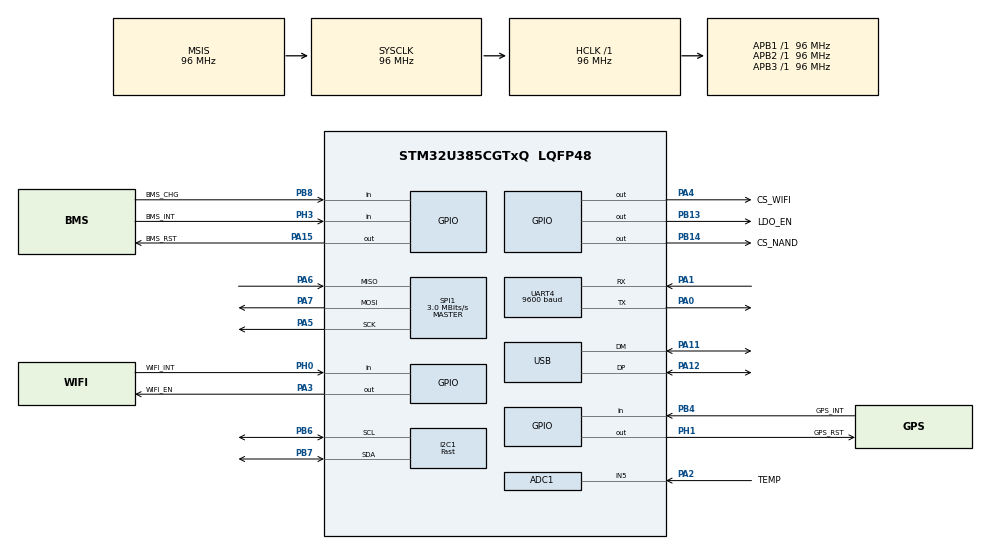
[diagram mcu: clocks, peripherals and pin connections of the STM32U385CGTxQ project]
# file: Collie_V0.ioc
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ADC1.Channel-0\#ChannelRegularConversion=ADC_CHANNEL_5
ADC1.MonitoredBy-0\#ChannelRegularConversion=__NULL
ADC1.NbrOfConversion=1
ADC1.NbrOfConversionFlag=1
ADC1.OffsetNumber-0\#ChannelRegularConversion=ADC_OFFSET_NONE
ADC1.Rank-0\#ChannelRegularConversion=1
ADC1.SamplingTime-0\#ChannelRegularConversion=ADC_SAMPLETIME_1CYCLE_5
ADC1.master=1
CORTEX_M33_NS.userName=CORTEX_M33
I2C1.I2C_Speed_Mode=I2C_Fast
I2C1.Timing=0x009032AE
Mcu.Family=STM32U3
Mcu.Name=STM32U385CGTxQ
Mcu.Package=LQFP48
NVIC.PriorityGroup=NVIC_PRIORITYGROUP_4
PA0.Mode=Asynchronous
PA0.Signal=UART4_TX
PA1.Mode=Asynchronous
PA1.Signal=UART4_RX
PA11.Mode=Device
PA11.Signal=USB_DM
PA12.Mode=Device
PA12.Signal=USB_DP
PA13\ (JTMS/SWDIO).Mode=Trace_Asynchronous_SW
PA13\ (JTMS/SWDIO).Signal=DEBUG_JTMS-SWDIO
PA14\ (JTCK/SWCLK).Mode=Trace_Asynchronous_SW
PA14\ (JTCK/SWCLK).Signal=DEBUG_JTCK-SWCLK
PA15\ (JTDI).GPIO_Label=BMS_RST
PA15\ (JTDI).GPIO_Speed=GPIO_SPEED_FREQ_LOW
PA15\ (JTDI).Signal=GPIO_Output
PA2.GPIO_Label=TEMP
PA2.Mode=IN5-Single-Ended
PA2.Signal=ADC1_IN5
PA3.GPIO_Label=WIFI_EN
PA3.Signal=GPIO_Output
PA4.GPIO_Label=CS_WIFI
PA4.Signal=GPIO_Output
PA5.Mode=Full_Duplex_Master
PA5.Signal=SPI1_SCK
PA6.Mode=Full_Duplex_Master
PA6.Signal=SPI1_MISO
PA7.Mode=Full_Duplex_Master
PA7.Signal=SPI1_MOSI
PB13.GPIO_Label=LDO_EN
PB13.Signal=GPIO_Output
PB14.GPIO_Label=CS_NAND
PB14.Signal=GPIO_Output
PB3\ (JTDO/TRACESWO).Mode=Trace_Asynchronous_SW
PB3\ (JTDO/TRACESWO).Signal=DEBUG_JTDO-SWO
PB4\ (NJTRST).GPIO_Label=GPS_INT
PB4\ (NJTRST).Signal=GPIO_Input
PB6.Mode=I2C
PB6.Signal=I2C1_SCL
PB7.Mode=I2C
PB7.Signal=I2C1_SDA
PB8.GPIO_Label=BMS_CHG
PB8.Signal=GPIO_Input
PH0-OSC_IN\ (PH0).GPIO_Label=WIFI_INT
PH0-OSC_IN\ (PH0).Signal=GPIO_Input
PH1-OSC_OUT\ (PH1).GPIO_Label=GPS_RST
PH1-OSC_OUT\ (PH1).Signal=GPIO_Output
PH3-BOOT0\ (PH3).GPIO_Label=BMS_INT
PH3-BOOT0\ (PH3).Signal=GPIO_Input
ProjectManager.HeapSize=0x200
ProjectManager.StackSize=0x400
ProjectManager.TargetToolchain=STM32CubeIDE
RCC.ADCFreq_Value=96000000
RCC.AHBFreq_Value=96000000
RCC.APB1Freq_Value=96000000
RCC.APB1TimFreq_Value=96000000
RCC.APB2Freq_Value=96000000
RCC.APB2TimFreq_Value=96000000
RCC.APB3Freq_Value=96000000
RCC.CortexFreq_Value=12000000
RCC.HCLKFreq_Value=96000000
RCC.HSE_VALUE=16000000
RCC.HSI48_VALUE=48000000
RCC.HSI_VALUE=16000000
RCC.LSE_VALUE=32768
RCC.LSIDIV_VALUE=32000
RCC.MSISDIV=RCC_MSI_DIV1
RCC.SYSCLKFreq_VALUE=96000000
RCC.USBFreq_Value=48000000
RCC.USB_DIV=RCC_USB1CLKSOURCE_ICLK_DIV2
SPI1.BaudRatePrescaler=SPI_BAUDRATEPRESCALER_32
SPI1.CalculateBaudRate=3.0 MBits/s
SPI1.DataSize=SPI_DATASIZE_8BIT
SPI1.Direction=SPI_DIRECTION_2LINES
SPI1.Mode=SPI_MODE_MASTER
SPI1.VirtualType=VM_MASTER
UART4.BaudRate=9600
UART4.RxPinLevelInvertParam=UART_ADVFEATURE_RXINV_ENABLE
UART4.SwapParam=UART_ADVFEATURE_SWAP_ENABLE
USB.VirtualMode=Device_Only
USBX.BSP.number=1
USBX.Core_System=1
USBX.USBD_CDCACM_EPIN_ADDR=2
USBX.USBD_CDCACM_EPOUT_ADDR=3
USBX.UX_DEVICE_CDC_ACM=1
USBX.UX_Device_Controller=1
USBX.UX_Device_CoreStack=1
USBX0.BSP.STBoard=false
USBX0.BSP.api=Unknown
USBX0.BSP.instance=USB
USBX0.BSP.ip=USB
USBX0.BSP.mode=Device_Only
USBX0.BSP.name=USB_Device
USBX0.BSP.solution=USB
VP_FLASH_SIG_Activate_FlashIP.Mode=Activate_FlashIP
VP_ICACHE_VS_ICACHE.Mode=DirectMappedCache
VP_PWR_VS_DBSignals.Mode=DisableDeadBatterySignals
VP_PWR_VS_LPOM.Mode=PowerOptimisation
VP_PWR_VS_SECSignals.Mode=Security/Privilege
VP_PWR_V_PVD_IN.Mode=Mode_PVD_Int
VP_USBX_Core_System.Mode=Core_System
VP_USBX_UX\ Device\ CDC\ ACM\ Class_FS.Mode=UX_Device_class_CDC_ACM_FS
VP_USBX_UX\ Device\ Controller_FS.Mode=UX_Device_Controller_FS
VP_USBX_UX\ Device\ CoreStack_FS.Mode=UX_Device_CoreStack_FS
board=custom

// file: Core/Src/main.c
/* USER CODE BEGIN Header */
/**
  ******************************************************************************
  * @file           : main.c
  * @brief          : Main program body
  ******************************************************************************
  * @attention
  *
  * Copyright (c) 2025 STMicroelectronics.
  * All rights reserved.
  *
  * This software is licensed under terms that can be found in the LICENSE file
  * in the root directory of this software component.
  * If no LICENSE file comes with this software, it is provided AS-IS.
  *
  ******************************************************************************
  */
/* USER CODE END Header */
#include "main.h"
#include "app_usbx_device.h"

/* USER CODE BEGIN Includes */
#include <stdio.h>          // For printf
#include <string.h>         // For memset, memcpy
#include "nmea_parse.h"     // Include FIRST: For GPS struct definition
#include "data_structures.h"
#include "system_control.h"
#include "imu_task.h"
#include "temp_task.h"
#include "gps_task.h"       // Uses GPS type defined in nmea_parse.h
#include "bms_task.h"
#include "storage_task.h"
#include "usb_cdc_task.h"
#include "bmi2.h"           // For bmi2_dev struct definition
// NOTE: app_usbx_device.h is already included above main includes section
/* USER CODE END Includes */

/* USER CODE BEGIN PD */
// Task Scheduling Intervals (Approximate)
#define MAIN_LOOP_DELAY_MS    1       // Main loop check interval (ms)
#define IMU_INTERVAL_MS       10      // 100 Hz = 10ms
// GPS task `gps_task_run` should be called frequently to empty UART buffer.
// Parsing and updating data structure happens when full sentences arrive (target ~1Hz).
#define TEMP_INTERVAL_MS      1000    // 1 Hz = 1000ms
#define BMS_INTERVAL_MS       1000    // 1 Hz = 1000ms
#define STORAGE_INTERVAL_MS   1000    // Log data every 1 second = 1000ms
#define USB_SEND_INTERVAL_MS  100     // Send data over USB at 10 Hz = 100ms

/* USER CODE END PD */

ADC_HandleTypeDef hadc1;

I2C_HandleTypeDef hi2c1;

SPI_HandleTypeDef hspi1;

UART_HandleTypeDef huart4;

PCD_HandleTypeDef hpcd_USB_DRD_FS;

/* USER CODE BEGIN PV */
// Task Data Structures
static imu_data_t      g_imu_data;
static gps_data_t      g_gps_data;       // Application GPS data structure
static temp_data_t     g_temp_data;
static bms_status_t    g_bms_status;
static log_record_t    g_log_record;

// Driver / State Structures
static struct bmi2_dev g_bmi2_dev;      // BMI270 device instance
static GPS             g_gps_parser_state; // Changed type to GPS: NMEA parser state struct

// Task Timing
static uint32_t g_last_imu_time = 0;
// static uint32_t g_last_gps_time = 0; // Not needed - gps_task_run called every loop
static uint32_t g_last_temp_time = 0;
static uint32_t g_last_bms_time = 0;
static uint32_t g_last_storage_time = 0;
static uint32_t g_last_usb_send_time = 0;
/* USER CODE END PV */

void SystemClock_Config(void);
static void MX_GPIO_Init(void);
static void MX_ADC1_Init(void);
static void MX_I2C1_Init(void);
static void MX_SPI1_Init(void);
static void MX_UART4_Init(void);
static void MX_USB_PCD_Init(void);
static void MX_ICACHE_Init(void);
static void MX_FLASH_Init(void);
/* USER CODE BEGIN PFP */
#ifdef __GNUC__
/* With GCC, small printf (option LD Linker->Libraries->Small printf
   set to 'Yes') calls __io_putchar() */
#define PUTCHAR_PROTOTYPE int __io_putchar(int ch)
#else
#define PUTCHAR_PROTOTYPE int fputc(int ch, FILE *f)
#endif /* __GNUC__ */
/* USER CODE END PFP */

/* USER CODE BEGIN 0 */

/**
  * @brief  Retargets the C library printf function to the ITM SWO output.
  * Requires SWO configuration in CubeMX and debugger.
  * @param  Character to send
  * @retval Character sent
  */
PUTCHAR_PROTOTYPE
{
  /* Place your implementation of fputc here */
  /* e.g. write a character to the ITM Channel 0 */
  ITM_SendChar(ch);
  return ch;
}

/* USER CODE END 0 */

int main(void)
{

  /* USER CODE BEGIN 1 */
  uint32_t current_time = 0;
  bool storage_success = false;
  /* USER CODE END 1 */

  /* MCU Configuration--------------------------------------------------------*/

  /* Reset of all peripherals, Initializes the Flash interface and the Systick. */
  HAL_Init();

  /* Configure the system clock */
  SystemClock_Config();

  /* Initialize all configured peripherals */
  MX_GPIO_Init();
  MX_ADC1_Init();
  MX_I2C1_Init();
  MX_SPI1_Init();
  MX_UART4_Init();
  MX_USB_PCD_Init();
  MX_ICACHE_Init();
  MX_FLASH_Init();
  MX_USBX_Device_Init();
  /* USER CODE BEGIN 2 */
  printf("\r\n\r\n--- Collie V0 Board Starting ---\r\n");
  printf("System Core Clock: %lu Hz\r\n", SystemCoreClock);

  // --- Initialize Application Modules ---
  printf("Initializing System Control...\r\n");
  system_control_init(); // Set initial GPIO states

  printf("Initializing Temperature Sensor Task...\r\n");
  if (!temp_task_init()) {
      printf("!!! TEMP INIT FAILED !!!\r\n"); Error_Handler();
  }

  printf("Initializing IMU Task...\r\n");
  if (!imu_task_init(&g_bmi2_dev)) { // Pass the global bmi device struct
       printf("!!! IMU INIT FAILED !!!\r\n"); Error_Handler();
  }

  printf("Initializing BMS Task...\r\n");
   if (!bms_task_init()) {
       printf("!!! BMS INIT FAILED !!!\r\n"); Error_Handler();
   }

  printf("Initializing GPS Task...\r\n");
  // Pass the address of the NMEA parser state struct (type GPS)
   if (!gps_task_init(&g_gps_parser_state)) { // Corrected variable name
        printf("!!! GPS INIT FAILED !!!\r\n"); Error_Handler();
   }

   printf("Initializing Storage Task...\r\n");
   if (!storage_task_init()) {
        printf("!!! STORAGE INIT FAILED !!!\r\n");
        Error_Handler();
   }

   printf("Initializing USB CDC Task...\r\n");
   usb_cdc_task_init();

   printf("\r\n--- Initialization Complete ---\r\n");

   // --- Initialize last poll times ---
   g_last_imu_time = HAL_GetTick();
   g_last_temp_time = HAL_GetTick();
   g_last_bms_time = HAL_GetTick();
   g_last_storage_time = HAL_GetTick();
   g_last_usb_send_time = HAL_GetTick();

   // --- Clear initial data structures ---
   memset(&g_imu_data, 0, sizeof(g_imu_data));
   memset(&g_gps_data, 0, sizeof(g_gps_data));
   memset(&g_temp_data, 0, sizeof(g_temp_data));
   memset(&g_bms_status, 0, sizeof(g_bms_status));
   memset(&g_log_record, 0, sizeof(g_log_record));

  /* USER CODE END 2 */

  /* Infinite loop */
  while (1)
  {

    /* USER CODE BEGIN 3 */

    current_time = HAL_GetTick();

    // --- Run Sensor Tasks based on intervals ---
    if (current_time - g_last_imu_time >= IMU_INTERVAL_MS) {
        g_last_imu_time = current_time;
        imu_task_run(&g_bmi2_dev, &g_imu_data);
    }

    if (current_time - g_last_temp_time >= TEMP_INTERVAL_MS) {
        g_last_temp_time = current_time;
        temp_task_run(&g_temp_data);
    }

     if (current_time - g_last_bms_time >= BMS_INTERVAL_MS) {
        g_last_bms_time = current_time;
        bms_task_run(&g_bms_status);
    }

    // GPS runs every loop cycle to process the UART buffer quickly
    gps_task_run(&g_gps_parser_state, &g_gps_data); // Corrected variable name

    // --- Run Storage Task ---
    if (current_time - g_last_storage_time >= STORAGE_INTERVAL_MS) {
        g_last_storage_time = current_time;

        g_log_record.timestamp_s = current_time / 1000;
        imu_task_get_last_data(&g_log_record.imu);
        gps_task_get_last_data(&g_log_record.gps);
        temp_task_get_last_data(&g_log_record.temp);
        bms_task_get_last_status(&g_log_record.bms);

        storage_success = storage_task_write_record(&g_log_record);
        if (!storage_success) {
             static uint32_t last_nand_error_print = 0;
             if (current_time - last_nand_error_print > 5000) {
                 printf("Main Loop: Failed to write log record to NAND!\r\n");
                 last_nand_error_print = current_time;
             }
        }
    }

    // --- Run USB CDC Task ---
     if (current_time - g_last_usb_send_time >= USB_SEND_INTERVAL_MS) {
         g_last_usb_send_time = current_time;
         if (usb_cdc_task_is_ready()) {
             imu_task_get_last_data(&g_imu_data);
             gps_task_get_last_data(&g_gps_data);
             temp_task_get_last_data(&g_temp_data);
             bms_task_get_last_status(&g_bms_status);
             usb_cdc_task_send_sensor_data(&g_imu_data, &g_gps_data, &g_temp_data, &g_bms_status);
         }
     }

     USBX_Device_Process(); // Process USB events

     HAL_Delay(MAIN_LOOP_DELAY_MS);

  }
  /* USER CODE END 3 */
}

void SystemClock_Config(void)
{
  RCC_OscInitTypeDef RCC_OscInitStruct = {0};
  RCC_ClkInitTypeDef RCC_ClkInitStruct = {0};

  /** Enable Epod Booster
  */
  if (HAL_RCCEx_EpodBoosterClkConfig(RCC_EPODBOOSTER_SOURCE_MSIS, RCC_EPODBOOSTER_DIV1) != HAL_OK)
  {
    Error_Handler();
  }
  if (HAL_PWREx_EnableEpodBooster() != HAL_OK)
  {
    Error_Handler();
  }

  /** Configure the main internal regulator output voltage
  */
  if (HAL_PWREx_ControlVoltageScaling(PWR_REGULATOR_VOLTAGE_SCALE1) != HAL_OK)
  {
    Error_Handler();
  }

  /** Set Flash latency before increasing MSIS
  */
  __HAL_FLASH_SET_LATENCY(FLASH_LATENCY_2);

  /** Initializes the CPU, AHB and APB buses clocks
  */
  RCC_OscInitStruct.OscillatorType = RCC_OSCILLATORTYPE_MSIS;
  RCC_OscInitStruct.MSISState = RCC_MSI_ON;
  RCC_OscInitStruct.MSISSource = RCC_MSI_RC0;
  RCC_OscInitStruct.MSISDiv = RCC_MSI_DIV1;
  if (HAL_RCC_OscConfig(&RCC_OscInitStruct) != HAL_OK)
  {
    Error_Handler();
  }

  /** Initializes the CPU, AHB and APB buses clocks
  */
  RCC_ClkInitStruct.ClockType = RCC_CLOCKTYPE_HCLK|RCC_CLOCKTYPE_SYSCLK
                              |RCC_CLOCKTYPE_PCLK1|RCC_CLOCKTYPE_PCLK2
                              |RCC_CLOCKTYPE_PCLK3;
  RCC_ClkInitStruct.SYSCLKSource = RCC_SYSCLKSOURCE_MSIS;
  RCC_ClkInitStruct.AHBCLKDivider = RCC_SYSCLK_DIV1;
  RCC_ClkInitStruct.APB1CLKDivider = RCC_HCLK_DIV1;
  RCC_ClkInitStruct.APB2CLKDivider = RCC_HCLK_DIV1;
  RCC_ClkInitStruct.APB3CLKDivider = RCC_HCLK_DIV1;

  if (HAL_RCC_ClockConfig(&RCC_ClkInitStruct, FLASH_LATENCY_2) != HAL_OK)
  {
    Error_Handler();
  }
}

static void MX_ADC1_Init(void)
{

  ADC_ChannelConfTypeDef sConfig = {0};

  /** Common config
  */
  hadc1.Instance = ADC1;
  hadc1.Init.Resolution = ADC_RESOLUTION_12B;
  hadc1.Init.GainCompensation = 0;
  hadc1.Init.ScanConvMode = ADC_SCAN_DISABLE;
  hadc1.Init.EOCSelection = ADC_EOC_SINGLE_CONV;
  hadc1.Init.LowPowerAutoWait = DISABLE;
  hadc1.Init.ContinuousConvMode = DISABLE;
  hadc1.Init.NbrOfConversion = 1;
  hadc1.Init.DiscontinuousConvMode = DISABLE;
  hadc1.Init.ExternalTrigConv = ADC_SOFTWARE_START;
  hadc1.Init.ExternalTrigConvEdge = ADC_EXTERNALTRIGCONVEDGE_NONE;
  hadc1.Init.Overrun = ADC_OVR_DATA_PRESERVED;
  hadc1.Init.LeftBitShift = ADC_LEFTBITSHIFT_NONE;
  hadc1.Init.ConversionDataManagement = ADC_CONVERSIONDATA_DR;
  hadc1.Init.OversamplingMode = DISABLE;
  if (HAL_ADC_Init(&hadc1) != HAL_OK)
  {
    Error_Handler();
  }

  /** Configure Regular Channel
  */
  sConfig.Channel = ADC_CHANNEL_5;
  sConfig.Rank = ADC_REGULAR_RANK_1;
  sConfig.SamplingTime = ADC_SAMPLETIME_1CYCLE_5;
  sConfig.OffsetNumber = ADC_OFFSET_NONE;
  sConfig.Offset = 0;
  if (HAL_ADC_ConfigChannel(&hadc1, &sConfig) != HAL_OK)
  {
    Error_Handler();
  }

}

static void MX_FLASH_Init(void)
{

}

static void MX_I2C1_Init(void)
{

  hi2c1.Instance = I2C1;
  hi2c1.Init.Timing = 0x009032AE;
  hi2c1.Init.OwnAddress1 = 0;
  hi2c1.Init.AddressingMode = I2C_ADDRESSINGMODE_7BIT;
  hi2c1.Init.DualAddressMode = I2C_DUALADDRESS_DISABLE;
  hi2c1.Init.OwnAddress2 = 0;
  hi2c1.Init.OwnAddress2Masks = I2C_OA2_NOMASK;
  hi2c1.Init.GeneralCallMode = I2C_GENERALCALL_DISABLE;
  hi2c1.Init.NoStretchMode = I2C_NOSTRETCH_DISABLE;
  if (HAL_I2C_Init(&hi2c1) != HAL_OK)
  {
    Error_Handler();
  }

  /** Configure Analogue filter
  */
  if (HAL_I2CEx_ConfigAnalogFilter(&hi2c1, I2C_ANALOGFILTER_ENABLE) != HAL_OK)
  {
    Error_Handler();
  }

  /** Configure Digital filter
  */
  if (HAL_I2CEx_ConfigDigitalFilter(&hi2c1, 0) != HAL_OK)
  {
    Error_Handler();
  }

}

static void MX_ICACHE_Init(void)
{

  /** Enable instruction cache in 1-way (direct mapped cache)
  */
  if (HAL_ICACHE_ConfigAssociativityMode(ICACHE_1WAY) != HAL_OK)
  {
    Error_Handler();
  }
  if (HAL_ICACHE_Enable() != HAL_OK)
  {
    Error_Handler();
  }

}

static void MX_SPI1_Init(void)
{

  SPI_AutonomousModeConfTypeDef HAL_SPI_AutonomousMode_Cfg_Struct = {0};

  /* SPI1 parameter configuration*/
  hspi1.Instance = SPI1;
  hspi1.Init.Mode = SPI_MODE_MASTER;
  hspi1.Init.Direction = SPI_DIRECTION_2LINES;
  hspi1.Init.DataSize = SPI_DATASIZE_8BIT;
  hspi1.Init.CLKPolarity = SPI_POLARITY_LOW;
  hspi1.Init.CLKPhase = SPI_PHASE_1EDGE;
  hspi1.Init.NSS = SPI_NSS_SOFT;
  hspi1.Init.BaudRatePrescaler = SPI_BAUDRATEPRESCALER_32;
  hspi1.Init.FirstBit = SPI_FIRSTBIT_MSB;
  hspi1.Init.TIMode = SPI_TIMODE_DISABLE;
  hspi1.Init.CRCCalculation = SPI_CRCCALCULATION_DISABLE;
  hspi1.Init.CRCPolynomial = 0x7;
  hspi1.Init.NSSPMode = SPI_NSS_PULSE_ENABLE;
  hspi1.Init.NSSPolarity = SPI_NSS_POLARITY_LOW;
  hspi1.Init.FifoThreshold = SPI_FIFO_THRESHOLD_01DATA;
  hspi1.Init.MasterSSIdleness = SPI_MASTER_SS_IDLENESS_00CYCLE;
  hspi1.Init.MasterInterDataIdleness = SPI_MASTER_INTERDATA_IDLENESS_00CYCLE;
  hspi1.Init.MasterReceiverAutoSusp = SPI_MASTER_RX_AUTOSUSP_DISABLE;
  hspi1.Init.MasterKeepIOState = SPI_MASTER_KEEP_IO_STATE_DISABLE;
  hspi1.Init.IOSwap = SPI_IO_SWAP_DISABLE;
  hspi1.Init.ReadyMasterManagement = SPI_RDY_MASTER_MANAGEMENT_INTERNALLY;
  hspi1.Init.ReadyPolarity = SPI_RDY_POLARITY_HIGH;
  if (HAL_SPI_Init(&hspi1) != HAL_OK)
  {
    Error_Handler();
  }
  HAL_SPI_AutonomousMode_Cfg_Struct.TriggerState = SPI_AUTO_MODE_DISABLE;
  HAL_SPI_AutonomousMode_Cfg_Struct.TriggerSelection = SPI_GRP1_GPDMA_CH0_TCF_TRG;
  HAL_SPI_AutonomousMode_Cfg_Struct.TriggerPolarity = SPI_TRIG_POLARITY_RISING;
  if (HAL_SPIEx_SetConfigAutonomousMode(&hspi1, &HAL_SPI_AutonomousMode_Cfg_Struct) != HAL_OK)
  {
    Error_Handler();
  }

}

static void MX_UART4_Init(void)
{

  huart4.Instance = UART4;
  huart4.Init.BaudRate = 9600;
  huart4.Init.WordLength = UART_WORDLENGTH_8B;
  huart4.Init.StopBits = UART_STOPBITS_1;
  huart4.Init.Parity = UART_PARITY_NONE;
  huart4.Init.Mode = UART_MODE_TX_RX;
  huart4.Init.HwFlowCtl = UART_HWCONTROL_NONE;
  huart4.Init.OverSampling = UART_OVERSAMPLING_16;
  huart4.Init.OneBitSampling = UART_ONE_BIT_SAMPLE_DISABLE;
  huart4.Init.ClockPrescaler = UART_PRESCALER_DIV1;
  huart4.AdvancedInit.AdvFeatureInit = UART_ADVFEATURE_RXINVERT_INIT|UART_ADVFEATURE_SWAP_INIT;
  huart4.AdvancedInit.RxPinLevelInvert = UART_ADVFEATURE_RXINV_ENABLE;
  huart4.AdvancedInit.Swap = UART_ADVFEATURE_SWAP_ENABLE;
  if (HAL_UART_Init(&huart4) != HAL_OK)
  {
    Error_Handler();
  }
  if (HAL_UARTEx_SetTxFifoThreshold(&huart4, UART_TXFIFO_THRESHOLD_1_8) != HAL_OK)
  {
    Error_Handler();
  }
  if (HAL_UARTEx_SetRxFifoThreshold(&huart4, UART_RXFIFO_THRESHOLD_1_8) != HAL_OK)
  {
    Error_Handler();
  }
  if (HAL_UARTEx_DisableFifoMode(&huart4) != HAL_OK)
  {
    Error_Handler();
  }

}

static void MX_USB_PCD_Init(void)
{

  hpcd_USB_DRD_FS.Instance = USB_DRD_FS;
  hpcd_USB_DRD_FS.Init.dev_endpoints = 8;
  hpcd_USB_DRD_FS.Init.speed = USBD_FS_SPEED;
  hpcd_USB_DRD_FS.Init.phy_itface = PCD_PHY_EMBEDDED;
  hpcd_USB_DRD_FS.Init.Sof_enable = DISABLE;
  hpcd_USB_DRD_FS.Init.low_power_enable = DISABLE;
  hpcd_USB_DRD_FS.Init.lpm_enable = DISABLE;
  hpcd_USB_DRD_FS.Init.battery_charging_enable = DISABLE;
  hpcd_USB_DRD_FS.Init.vbus_sensing_enable = DISABLE;
  hpcd_USB_DRD_FS.Init.bulk_doublebuffer_enable = DISABLE;
  hpcd_USB_DRD_FS.Init.iso_singlebuffer_enable = DISABLE;
  if (HAL_PCD_Init(&hpcd_USB_DRD_FS) != HAL_OK)
  {
    Error_Handler();
  }

}

static void MX_GPIO_Init(void)
{
  GPIO_InitTypeDef GPIO_InitStruct = {0};

  /* GPIO Ports Clock Enable */
  __HAL_RCC_GPIOH_CLK_ENABLE();
  __HAL_RCC_GPIOA_CLK_ENABLE();
  __HAL_RCC_GPIOB_CLK_ENABLE();

  /*Configure GPIO pin Output Level */
  HAL_GPIO_WritePin(GPS_RST_GPIO_Port, GPS_RST_Pin, GPIO_PIN_RESET);

  /*Configure GPIO pin Output Level */
  HAL_GPIO_WritePin(GPIOA, WIFI_EN_Pin|CS_WIFI_Pin|BMS_RST_Pin, GPIO_PIN_RESET);

  /*Configure GPIO pin Output Level */
  HAL_GPIO_WritePin(GPIOB, LDO_EN_Pin|CS_NAND_Pin, GPIO_PIN_RESET);

  /*Configure GPIO pins : WIFI_INT_Pin BMS_INT_Pin */
  GPIO_InitStruct.Pin = WIFI_INT_Pin|BMS_INT_Pin;
  GPIO_InitStruct.Mode = GPIO_MODE_INPUT;
  GPIO_InitStruct.Pull = GPIO_NOPULL;
  HAL_GPIO_Init(GPIOH, &GPIO_InitStruct);

  /*Configure GPIO pin : GPS_RST_Pin */
  GPIO_InitStruct.Pin = GPS_RST_Pin;
  GPIO_InitStruct.Mode = GPIO_MODE_OUTPUT_PP;
  GPIO_InitStruct.Pull = GPIO_NOPULL;
  GPIO_InitStruct.Speed = GPIO_SPEED_FREQ_LOW;
  HAL_GPIO_Init(GPS_RST_GPIO_Port, &GPIO_InitStruct);

  /*Configure GPIO pins : WIFI_EN_Pin CS_WIFI_Pin BMS_RST_Pin */
  GPIO_InitStruct.Pin = WIFI_EN_Pin|CS_WIFI_Pin|BMS_RST_Pin;
  GPIO_InitStruct.Mode = GPIO_MODE_OUTPUT_PP;
  GPIO_InitStruct.Pull = GPIO_NOPULL;
  GPIO_InitStruct.Speed = GPIO_SPEED_FREQ_LOW;
  HAL_GPIO_Init(GPIOA, &GPIO_InitStruct);

  /*Configure GPIO pins : LDO_EN_Pin CS_NAND_Pin */
  GPIO_InitStruct.Pin = LDO_EN_Pin|CS_NAND_Pin;
  GPIO_InitStruct.Mode = GPIO_MODE_OUTPUT_PP;
  GPIO_InitStruct.Pull = GPIO_NOPULL;
  GPIO_InitStruct.Speed = GPIO_SPEED_FREQ_LOW;
  HAL_GPIO_Init(GPIOB, &GPIO_InitStruct);

  /*Configure GPIO pins : GPS_INT_Pin BMS_CHG_Pin */
  GPIO_InitStruct.Pin = GPS_INT_Pin|BMS_CHG_Pin;
  GPIO_InitStruct.Mode = GPIO_MODE_INPUT;
  GPIO_InitStruct.Pull = GPIO_NOPULL;
  HAL_GPIO_Init(GPIOB, &GPIO_InitStruct);

  /* USER CODE BEGIN MX_GPIO_Init_2 */
  // Set initial output states here AFTER configuration is done
  HAL_GPIO_WritePin(GPIOA, WIFI_EN_Pin, GPIO_PIN_RESET);
  HAL_GPIO_WritePin(GPIOA, CS_WIFI_Pin, GPIO_PIN_SET);
  HAL_GPIO_WritePin(GPIOA, BMS_RST_Pin, GPIO_PIN_RESET); // BMS Reset Pin Init State
  HAL_GPIO_WritePin(GPIOB, LDO_EN_Pin, GPIO_PIN_RESET);
  HAL_GPIO_WritePin(GPIOB, CS_NAND_Pin, GPIO_PIN_SET);
  HAL_GPIO_WritePin(GPS_RST_GPIO_Port, GPS_RST_Pin, GPIO_PIN_SET); // Ensure GPS Reset de-asserted
  /* USER CODE END MX_GPIO_Init_2 */
}

/* USER CODE BEGIN 4 */
// Application specific functions can go here if needed, or kept in separate files.
/* USER CODE END 4 */

void Error_Handler(void)
{
  /* USER CODE BEGIN Error_Handler_Debug */
  /* User can add his own implementation to report the HAL error return state */
  __disable_irq();
  printf("!!! Error Handler Called !!!\r\n");
  while (1)
  {
      HAL_Delay(500);
  }
  /* USER CODE END Error_Handler_Debug */
}

#ifdef  USE_FULL_ASSERT
/**
  * @brief  Reports the name of the source file and the source line number
  *         where the assert_param error has occurred.
  * @param  file: pointer to the source file name
  * @param  line: assert_param error line source number
  * @retval None
  */
void assert_failed(uint8_t *file, uint32_t line)
{
  /* USER CODE BEGIN 6 */
  /* User can add his own implementation to report the file name and line number,
     ex: printf("Wrong parameters value: file %s on line %d\r\n", file, line) */
   printf("!!! Assertion Failed: file %s on line %lu\r\n", (char*)file, line);
   Error_Handler(); // Go to error handler on assertion failure
  /* USER CODE END 6 */
}
#endif /* USE_FULL_ASSERT */
